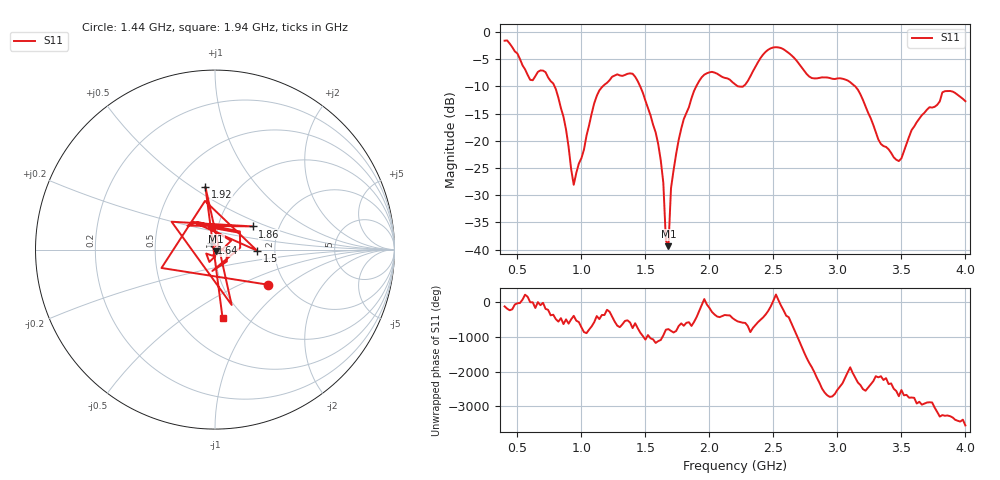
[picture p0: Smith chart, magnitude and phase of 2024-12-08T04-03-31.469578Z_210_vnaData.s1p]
!Created with skrf (http://scikit-rf.org).
# Hz S RI R 50.0
!freq ReS11 ImS11
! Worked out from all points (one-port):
!   181 points, 400 MHz to 4 GHz, reference 50 ohm
!   lowest |S11| = -39.4 dB at 1.68 GHz (marker M1), VSWR 1.02, Z = 50.5 - j0.941 ohm
!   |S11| at or under -10 dB: 790.6 MHz to 1.166 GHz (375.5 MHz wide, 38.4 % of centre); 1.459 GHz to 1.897 GHz (437.4 MHz wide, 26.1 % of centre); 3.14 GHz to end of sweep (the widest 3 of 4)
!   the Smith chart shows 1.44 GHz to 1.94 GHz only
!   S11 on the Smith chart (normalised r, x): 1.44 GHz: 1.63, -0.73; 1.5 GHz: 1.61, -0.02; 1.64 GHz: 0.96, +0.07; 1.86 GHz: 1.46, +0.40; 1.92 GHz: 0.71, +0.57; 1.94 GHz: 0.80, -0.72
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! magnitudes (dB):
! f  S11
! 400 MHz  -1.6
! 600 MHz  -8.8
! 720 MHz  -7.4
! 860 MHz  -15.6
! 940 MHz  -28.1
! 1.12 GHz  -11.7
! 1.3 GHz  -8.0
! 1.44 GHz  -9.0
! 1.5 GHz  -12.6
! 1.58 GHz  -18.4
! 1.64 GHz  -27.7
! 1.66 GHz  -38.3
! 1.68 GHz  -39.4
! 1.7 GHz  -28.7
! 1.76 GHz  -19.8
! 1.86 GHz  -12.2
! 1.92 GHz  -9.0
! 1.94 GHz  -8.3
! 2.2 GHz  -9.6
! 2.28 GHz  -9.7
! 2.48 GHz  -3.0
! 2.66 GHz  -4.7
! 2.8 GHz  -8.5
! 3.1 GHz  -9.2
! 3.46 GHz  -23.5
! 3.56 GHz  -19.2
! 3.82 GHz  -11.1
! 4 GHz  -12.7
